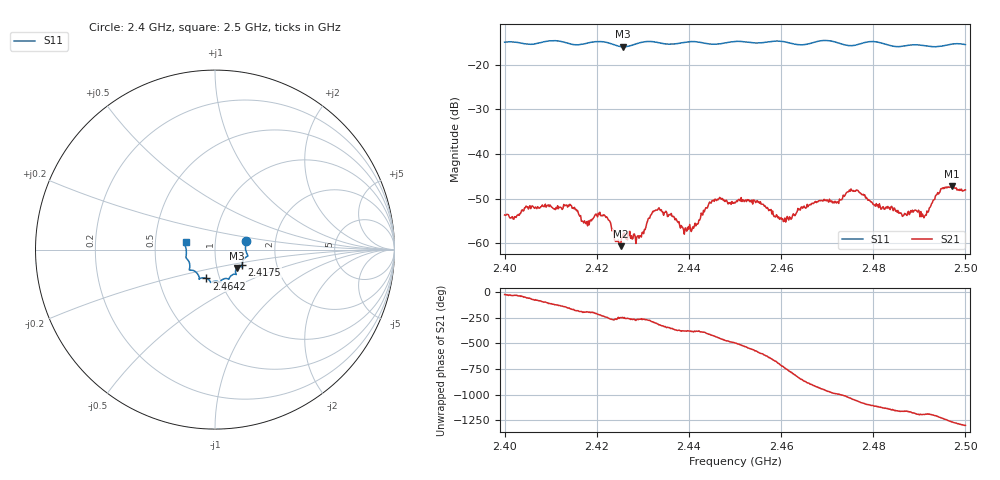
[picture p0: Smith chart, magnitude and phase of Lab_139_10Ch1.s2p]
# Hz S RI R 50
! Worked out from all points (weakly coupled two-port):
!   601 points, 2.4 GHz to 2.5 GHz, reference 50 ohm
!   highest |S21| = -47.21 dB at 2.497 GHz (marker M1); lowest = -60.6 dB at 2.4252 GHz (marker M2)
!   lowest |S11| = -16.0 dB at 2.4257 GHz (marker M3), VSWR 1.38, Z = 62.4 - j13.1 ohm
!   |S11| at or under -10 dB: start of sweep to end of sweep
!   S12 and S22 are empty: the file has one direction only
!   S11 on the Smith chart (normalised r, x): 2.4 GHz: 1.41, +0.14; 2.4175 GHz: 1.33, -0.23; 2.4642 GHz: 0.86, -0.29; 2.5 GHz: 0.72, +0.06
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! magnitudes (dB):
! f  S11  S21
! 2.4 GHz  -14.9  -53.6
! 2.4138 GHz  -15.2  -51.4
! 2.4167 GHz  -15.4  -55.0
! 2.4175 GHz  -15.2  -55.3
! 2.4217 GHz  -14.9  -53.7
! 2.4252 GHz  -15.9  -60.6
! 2.4257 GHz  -16.0  -58.3
! 2.429 GHz  -15.2  -58.3
! 2.4333 GHz  -15.0  -52.3
! 2.4392 GHz  -14.9  -56.6
! 2.4448 GHz  -15.4  -51.0
! 2.45 GHz  -14.7  -51.0
! 2.4552 GHz  -15.1  -50.7
! 2.4607 GHz  -14.8  -55.0
! 2.4642 GHz  -15.5  -52.5
! 2.4667 GHz  -15.1  -51.0
! 2.4762 GHz  -15.6  -48.3
! 2.4833 GHz  -15.6  -52.1
! 2.491 GHz  -15.7  -54.3
! 2.4945 GHz  -15.9  -48.4
! 2.497 GHz  -15.3  -47.2
! 2.5 GHz  -15.5  -48.0
